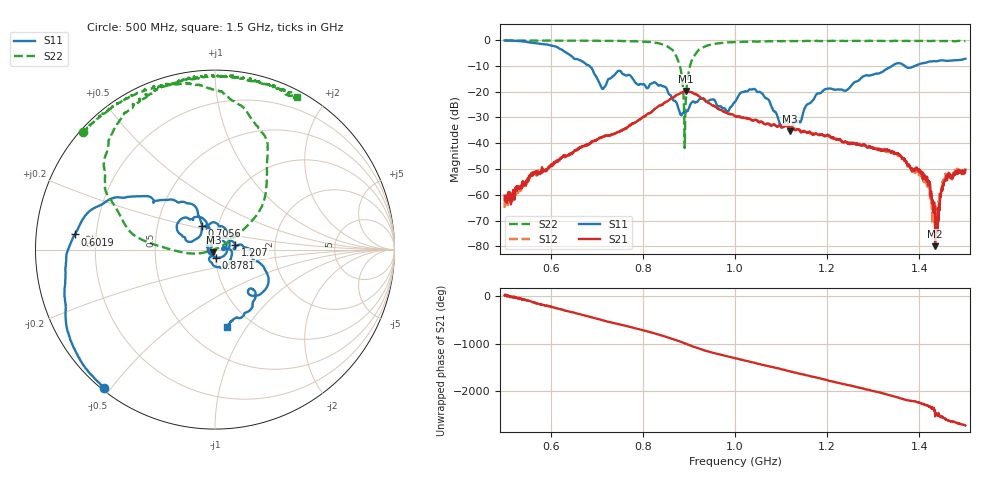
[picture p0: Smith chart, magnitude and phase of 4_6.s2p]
!Agilent Technologies,E8364B,US42250235,A.06.04.32
!Agilent E8364B: A.06.04.32
!Date: Friday, January 15, 2021 12:45:43
!Correction: S11(Full 2 Port(1,2)) S21(Full 2 Port(1,2)) S12(Full 2 Port(1,2)) S22(Full 2 Port(1,2))
!S2P File: Measurements: S11, S21, S12, S22:
# Hz S  dB  R 50
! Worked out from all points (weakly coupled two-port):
!   1601 points, 500 MHz to 1.5 GHz, reference 50 ohm
!   highest |S21| = -19.73 dB at 893.8 MHz (marker M1); lowest = -79.9 dB at 1.434 GHz (marker M2)
!   lowest |S11| = -35.3 dB at 1.12 GHz (marker M3), VSWR 1.03, Z = 49.1 - j1.44 ohm
!   |S11| at or under -10 dB: 684.1 MHz to 1.341 GHz (656.7 MHz wide, 64.9 % of centre); 1.368 GHz to 1.391 GHz (22.26 MHz wide, 1.61 % of centre)
!   |S22| runs from -41.8 to -0.1 dB; largest |S21 - S12| = 0.0027
!   S11 on the Smith chart (normalised r, x): 500 MHz: 0.01, -0.48; 601.9 MHz: 0.12, +0.05; 705.6 MHz: 0.84, +0.22; 878.1 MHz: 1.01, -0.09; 1.207 GHz: 1.25, +0.06; 1.5 GHz: 0.76, -0.82
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5e8  -0.11 -128.9  -60.30 10.9  -65.01 20.9  -0.14 138.3
6.01875e8  -2.10 173.8  -48.25 130.5  -48.67 135.7  -0.20 129.1
6.66875e8  -8.06 135.4  -41.37 -31.9  -41.35 -31.2  -0.18 121.8
7.05625e8  -16.57 119.0  -38.05 -130.0  -37.95 -127.9  -0.25 117.2
7.4875e8  -11.86 141.8  -35.69 125.7  -35.50 127.1  -0.24 110.6
8.3375e8  -17.63 79.9  -25.65 -88.1  -25.58 -87.0  -1.17 87.0
8.78125e8  -26.99 -83.2  -20.91 134.7  -20.82 135.9  -8.61 43.9
8.88125e8  -28.15 -156.9  -20.06 99.1  -19.98 100.0  -21.25 30.3
8.9375e8  -27.77 171.8  -19.73 76.6  -19.67 77.1  -21.58 -166.1
9.025e8  -25.27 145.1  -20.07 44.1  -19.92 44.1  -9.94 176.1
9.1875e8  -23.87 94.6  -21.36 -14.3  -21.42 -13.9  -4.29 156.5
1e9  -23.94 3.2  -29.55 134.1  -29.26 134.0  -0.74 119.9
1.0425e9  -18.93 -65.3  -30.88 38.5  -31.13 36.8  -0.49 114.1
1.12e9  -35.31 -121.4  -33.87 -141.8  -33.85 -145.1  -0.34 102.2
1.166875e9  -23.70 66.0  -36.36 108.1  -36.30 109.5  -0.36 97.4
1.206875e9  -18.77 12.2  -37.62 15.0  -37.35 14.9  -0.27 92.7
1.33375e9  -10.68 -20.4  -42.74 82.0  -43.31 86.1  -0.28 80.7
1.41375e9  -8.73 -54.9  -53.38 -131.0  -55.31 -120.4  -0.29 71.9
1.434375e9  -8.18 -63.8  -79.95 -4.9  -68.93 44.7  -0.29 70.7
1.439375e9  -8.15 -65.3  -74.77 46.8  -67.39 -1.7  -0.34 70.1
1.45875e9  -8.01 -72.1  -52.72 -75.6  -53.44 -71.7  -0.31 67.0
1.5e9  -7.19 -81.4  -50.22 163.8  -51.43 166.2  -0.32 61.7
